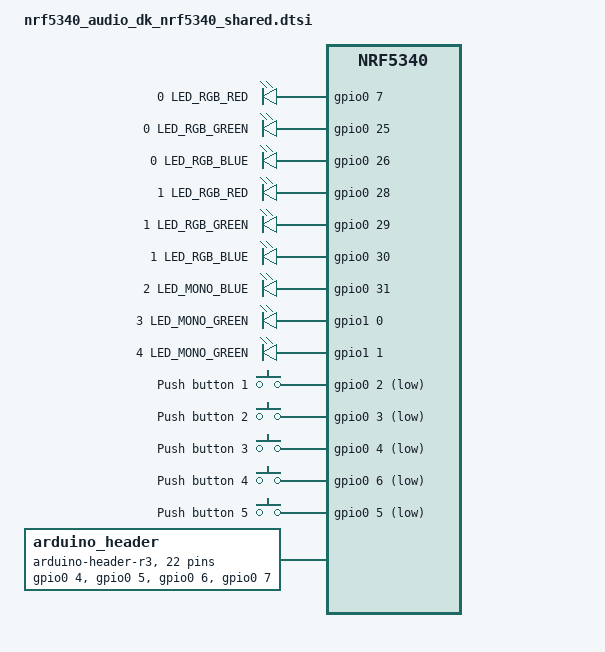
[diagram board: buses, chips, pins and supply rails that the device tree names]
#include <zephyr/dt-bindings/gpio/arduino-header-r3.h>
#include <zephyr/dt-bindings/input/input-event-codes.h>

/ {
	leds: leds {
		compatible = "gpio-leds";

		rgb1_red: led_0 {
			gpios = <&gpio0 7 GPIO_ACTIVE_HIGH>;
			label = "0 LED_RGB_RED";
		};

		rgb1_green: led_1 {
			gpios = <&gpio0 25 GPIO_ACTIVE_HIGH>;
			label = "0 LED_RGB_GREEN";
		};

		rgb1_blue: led_2 {
			gpios = <&gpio0 26 GPIO_ACTIVE_HIGH>;
			label = "0 LED_RGB_BLUE";
		};

		rgb2_red: led_3 {
			gpios = <&gpio0 28 GPIO_ACTIVE_HIGH>;
			label = "1 LED_RGB_RED";
		};

		rgb2_green: led_4 {
			gpios = <&gpio0 29 GPIO_ACTIVE_HIGH>;
			label = "1 LED_RGB_GREEN";
		};

		rgb2_blue: led_5 {
			gpios = <&gpio0 30 GPIO_ACTIVE_HIGH>;
			label = "1 LED_RGB_BLUE";
		};

		led1_blue: led_6 {
			gpios = <&gpio0 31 GPIO_ACTIVE_HIGH>;
			label = "2 LED_MONO_BLUE";
		};

		led2_green: led_7 {
			gpios = <&gpio1 0 GPIO_ACTIVE_HIGH>;
			label = "3 LED_MONO_GREEN";
		};

		led3_green: led_8 {
			gpios = <&gpio1 1 GPIO_ACTIVE_HIGH>;
			label = "4 LED_MONO_GREEN";
		};
	};

	buttons {
		compatible = "gpio-keys";

		button_1_vol_dn: button_1_vol_dn {
			gpios = <&gpio0 2 (GPIO_PULL_UP | GPIO_ACTIVE_LOW)>;
			label = "Push button 1";
			zephyr,code = <INPUT_KEY_VOLUMEDOWN>;
		};

		button_2_vol_up: button_2_vol_up {
			gpios = <&gpio0 3 (GPIO_PULL_UP | GPIO_ACTIVE_LOW)>;
			label = "Push button 2";
			zephyr,code = <INPUT_KEY_VOLUMEUP>;
		};

		button3: button_3 {
			gpios = <&gpio0 4 (GPIO_PULL_UP | GPIO_ACTIVE_LOW)>;
			label = "Push button 3";
			zephyr,code = <INPUT_KEY_3>;
		};

		button4: button_4 {
			gpios = <&gpio0 6 (GPIO_PULL_UP | GPIO_ACTIVE_LOW)>;
			label = "Push button 4";
			zephyr,code = <INPUT_KEY_4>;
		};

		button5: button_5 {
			gpios = <&gpio0 5 (GPIO_PULL_UP | GPIO_ACTIVE_LOW)>;
			label = "Push button 5";
			zephyr,code = <INPUT_KEY_5>;
		};
	};

	arduino_header: connector {
		compatible = "arduino-header-r3";
		#gpio-cells = <2>;
		gpio-map-mask = <0xffffffff 0xffffffc0>;
		gpio-map-pass-thru = <0 0x3f>;
		gpio-map = <ARDUINO_HEADER_R3_A0 0 &gpio0 4 0>,
			   <ARDUINO_HEADER_R3_A1 0 &gpio0 5 0>,
			   <ARDUINO_HEADER_R3_A2 0 &gpio0 6 0>,
			   <ARDUINO_HEADER_R3_A3 0 &gpio0 7 0>,
			   <ARDUINO_HEADER_R3_A4 0 &gpio0 25 0>,
			   <ARDUINO_HEADER_R3_A5 0 &gpio0 26 0>,
			   <ARDUINO_HEADER_R3_D0 0 &gpio1 9 0>,
			   <ARDUINO_HEADER_R3_D1 0 &gpio1 8 0>,
			   <ARDUINO_HEADER_R3_D2 0 &gpio0 31 0>,
			   <ARDUINO_HEADER_R3_D3 0 &gpio1 0 0>,
			   <ARDUINO_HEADER_R3_D4 0 &gpio1 1 0>,
			   <ARDUINO_HEADER_R3_D5 0 &gpio1 14 0>,
			   <ARDUINO_HEADER_R3_D6 0 &gpio1 7 0>,
			   <ARDUINO_HEADER_R3_D7 0 &gpio1 11 0>,
			   <ARDUINO_HEADER_R3_D8 0 &gpio1 10 0>,
			   <ARDUINO_HEADER_R3_D9 0 &gpio1 13 0>,
			   <ARDUINO_HEADER_R3_D10 0 &gpio1 12 0>,
			   <ARDUINO_HEADER_R3_D11 0 &gpio0 9 0>,
			   <ARDUINO_HEADER_R3_D12 0 &gpio0 10 0>,
			   <ARDUINO_HEADER_R3_D13 0 &gpio0 8 0>,
			   <ARDUINO_HEADER_R3_D14 0 &gpio1 2 0>,
			   <ARDUINO_HEADER_R3_D15 0 &gpio1 3 0>;
	};

	aliases {
		led0 = &rgb1_red;
		led1 = &rgb1_green;
		led2 = &rgb1_blue;
		led3 = &rgb2_red;
		led4 = &rgb2_green;
		led5 = &rgb2_blue;
		led6 = &led1_blue;
		led7 = &led2_green;
		led8 = &led3_green;
		sw0 = &button_1_vol_dn;
		sw1 = &button_2_vol_up;
		sw2 = &button3;
		sw3 = &button4;
		sw4 = &button5;
		mcuboot-led0 = &led1_blue;
		mcuboot-button0 = &button3;
		watchdog0 = &wdt0;
	};
};
